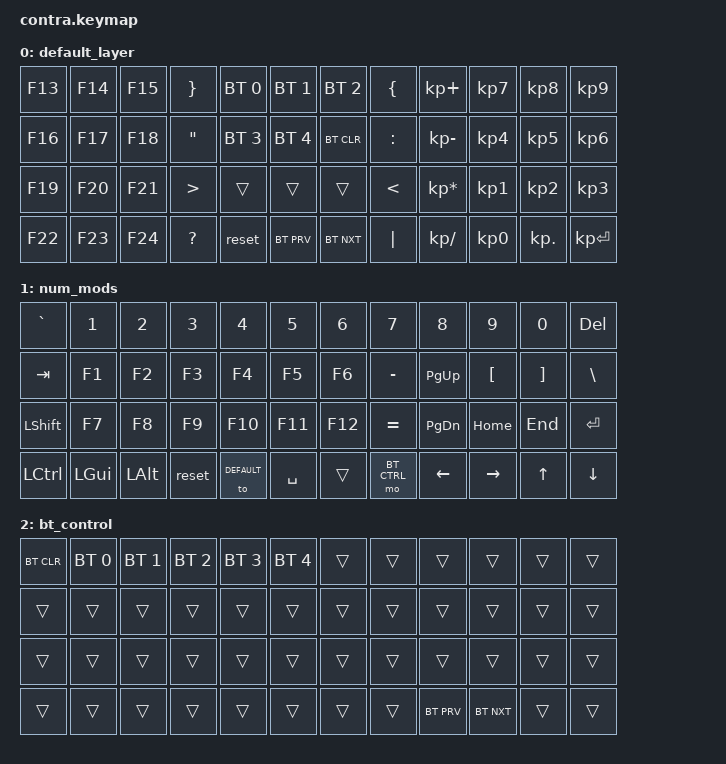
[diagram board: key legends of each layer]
/*
 * Copyright (c) 2021 The ZMK Contributors
 *
 * SPDX-License-Identifier: MIT
 */

#include <behaviors.dtsi>
#include <dt-bindings/zmk/keys.h>
#include <dt-bindings/zmk/bt.h>

#define DEFAULT  0
#define NUM_MODS 1
#define BT_CTRL  2

/ {
    keymap {
        compatible = "zmk,keymap";

        default_layer {
            bindings = <
    &kp F13   &kp F14   &kp F15  &kp RBRC  &bt BT_SEL 0 &bt BT_SEL 1 &bt BT_SEL 2 &kp LBRC    &kp KP_PLUS     &kp KP_N7 &kp KP_N8  &kp KP_N9
    &kp F16   &kp F17   &kp F18  &kp DQT   &bt BT_SEL 3 &bt BT_SEL 4 &bt BT_CLR   &kp COLON   &kp KP_MINUS    &kp KP_N4 &kp KP_N5  &kp KP_N6
    &kp F19   &kp F20   &kp F21  &kp GT    &trans       &trans       &trans       &kp LT      &kp KP_MULTIPLY &kp KP_N1 &kp KP_N2  &kp KP_N3
    &kp F22   &kp F23   &kp F24  &kp QMARK &reset       &bt BT_PRV   &bt BT_NXT   &kp PIPE    &kp KP_DIVIDE   &kp KP_N0 &kp KP_DOT &kp KP_ENTER
            >;
        };

        num_mods {
            bindings = <
    &kp GRAVE &kp N1    &kp N2   &kp N3   &kp N4      &kp N5     &kp N6    &kp N7      &kp N8    &kp N9    &kp N0   &kp DEL
    &kp TAB   &kp F1    &kp F2   &kp F3   &kp F4      &kp F5     &kp F6    &kp MINUS   &kp PG_UP &kp LBKT  &kp RBKT &kp BSLH
    &kp LSHFT &kp F7    &kp F8   &kp F9   &kp F10     &kp F11    &kp F12   &kp EQUAL   &kp PG_DN &kp HOME  &kp END  &kp ENTER
    &kp LCTRL &kp LGUI  &kp LALT &reset   &to DEFAULT &kp SPACE  &trans    &mo BT_CTRL &kp LEFT  &kp RIGHT &kp UP   &kp DOWN
            >;
        };

        bt_control {
            bindings = <
    &bt BT_CLR &bt BT_SEL 0 &bt BT_SEL 1 &bt BT_SEL 2 &bt BT_SEL 3 &bt BT_SEL 4 &trans    &trans    &trans     &trans     &trans   &trans
    &trans     &trans       &trans       &trans       &trans       &trans       &trans    &trans    &trans     &trans     &trans   &trans
    &trans     &trans       &trans       &trans       &trans       &trans       &trans    &trans    &trans     &trans     &trans   &trans
    &trans     &trans       &trans       &trans       &trans       &trans       &trans    &trans    &bt BT_PRV &bt BT_NXT &trans   &trans
            >;
        };
    };
};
